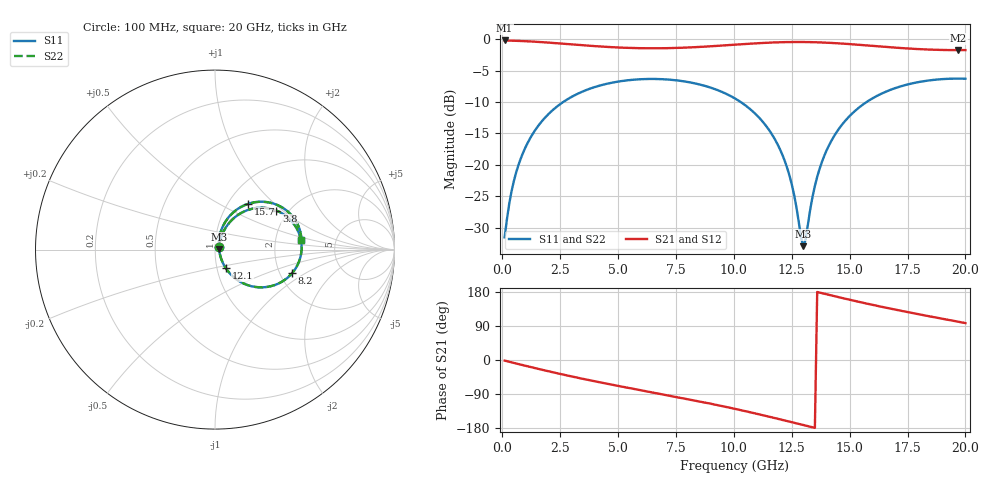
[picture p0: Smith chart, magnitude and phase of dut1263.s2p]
! Touchstone file exported from HFSS 2026.1.0
!  File:  C:/ffzhzh/LocalFiles/Ansys_Project_Files/temp_train_TSV_RDL_1263_1783327563_5512.aedt
!  Generated:  04:57:29 PM Jul  6, 2026
!  Design:  TSV_RDL
!  Project:  temp_train_TSV_RDL_1263_1783327563_5512
! Variables:
!  h_bsmrdl = 4.85um
!  h_ox = 20um
!  h_rdl = 5um
!  h_sub = 94.48um
!  h_tmrdl = 3.63um
!  h_tsv = 94.48um
!  h_via = 3um
!  l_bsmrdl = 396.27um
!  l_sub = 3969.16um
!  l_tmrdl = 574.2um
!  m_sub = 200um
!  pitch = 44.07um
!  r_tsv = 13.8um
!  s_tmrdl = 10um
!  w_bsmrdl = 11.09um
!  w_sub = 500um
!  w_tmrdl = 16.76um
!  x_tsv_center1 = 582.58um
!  x_tsv_center2 = 989.94um
!  x_tsv_center3 = 1580.9um
!  x_tsv_center4 = 1988.26um
!  x_tsv_center5 = 2579.22um
!  x_tsv_center6 = 2986.58um
# GHz S MA R 50.000000
! Terminal data exported
! Port[1] = TM_RDL1_1_T1
! Port[2] = TM_RDL5_1_T1
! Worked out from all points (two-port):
!   200 points, 100 MHz to 20 GHz, reference 50 ohm
!   highest |S21| = -0.19 dB at 100 MHz (marker M1); lowest = -1.7 dB at 19.7 GHz (marker M2)
!   |S21| within 3 dB of the highest: start of sweep to end of sweep
!   lowest |S11| = -33.0 dB at 13 GHz (marker M3), VSWR 1.05, Z = 52.3 + j0.135 ohm
!   |S11| at or under -10 dB: start of sweep to 2.628 GHz; 10.3 GHz to 15.73 GHz (5.435 GHz wide, 41.8 % of centre)
!   |S22| runs from -32.8 to -6.3 dB; largest |S21 - S12| = 1.7e-14
!   S11 on the Smith chart (normalised r, x): 100 MHz: 1.05, +0.03; 3.8 GHz: 1.74, +0.90; 8.2 GHz: 2.34, -0.76; 12.1 GHz: 1.10, -0.23; 15.7 GHz: 1.23, +0.69; 20 GHz: 2.82, +0.40
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0.1  0.02647 32.2  0.9779 -1.6  0.9779 -1.6  0.02647 32.2
! Gamma 0 0 0 0
! Port Impedance 50 0 50 0
0.3  0.04902 56.9  0.9758 -4.7  0.9758 -4.7  0.04902 56.9
0.5  0.07441 63.0  0.973 -7.8  0.973 -7.8  0.07441 63.0
1.1  0.1501 63.2  0.9628 -16.8  0.9628 -16.8  0.1501 63.2
2.1  0.2647 52.9  0.9373 -31.2  0.9373 -31.2  0.2647 52.9
3.5  0.3856 36.1  0.8948 -50.0  0.8948 -50.0  0.3856 36.1
3.8  0.4049 32.5  0.8864 -53.8  0.8864 -53.8  0.4049 32.5
6.8  0.4817 -1.2  0.8475 -89.1  0.8475 -89.1  0.4816 -1.2
8.2  0.4499 -16.8  0.8623 -105.5  0.8623 -105.5  0.4499 -16.8
10.1  0.3335 -39.1  0.9064 -129.6  0.9064 -129.6  0.3335 -39.1
11.3  0.2146 -53.2  0.9351 -146.4  0.9351 -146.4  0.2146 -53.1
12.1  0.1197 -59.8  0.9474 -158.1  0.9474 -158.1  0.1197 -59.7
12.5  0.07016 -57.8  0.9503 -164.1  0.9503 -164.1  0.07026 -57.5
13  0.02252 3.3  0.9504 -171.6  0.9504 -171.6  0.0229 3.4
13.1  0.02547 32.8  0.95 -173.1  0.95 -173.1  0.02583 32.4
13.4  0.05587 66.7  0.9476 -177.6  0.9476 -177.6  0.05606 66.3
13.7  0.0926 72.0  0.9439 177.9  0.9439 177.9  0.09272 71.7
14.2  0.1539 70.5  0.9348 170.5  0.9348 170.5  0.1539 70.3
15.7  0.3134 54.3  0.8941 149.4  0.8941 149.4  0.3134 54.2
16.7  0.3913 42.6  0.8645 136.3  0.8645 136.3  0.3914 42.5
19.7  0.4858 9.6  0.819 100.9  0.819 100.9  0.4858 9.6
20  0.4845 6.4  0.8196 97.5  0.8196 97.5  0.4845 6.4
